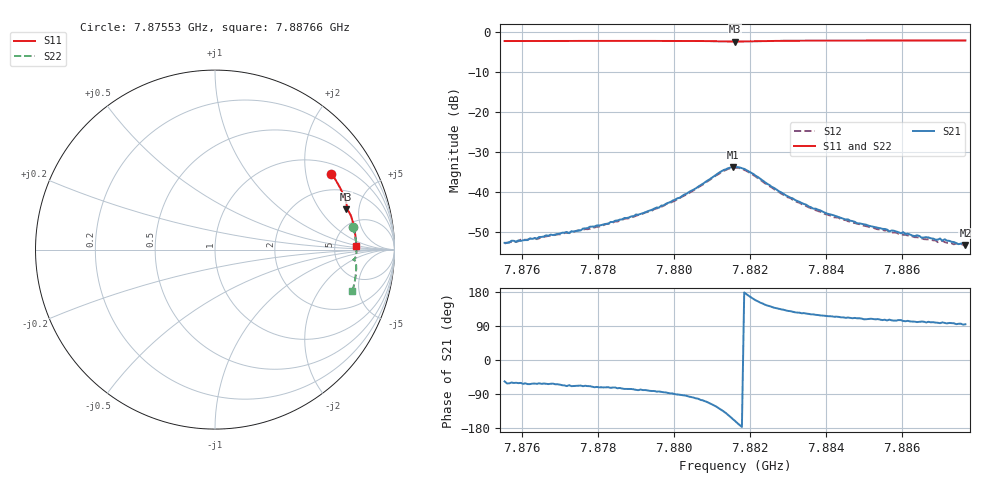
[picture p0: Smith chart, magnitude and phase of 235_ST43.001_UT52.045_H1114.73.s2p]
#  HZ  S  DB  R  50.00
! Rohde & Schwarz Vector Network Analyzer
! Rohde-Schwarz,ZNB20-2Port,1311601062101988,3.16
! Created: UTC 1/12/2023, 6:46:55 PM
! freq[Hz]  db:S11  ang:S11  db:S21  ang:S21  db:S12  ang:S12  db:S22  ang:S22
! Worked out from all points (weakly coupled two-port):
!   201 points, 7.87553 GHz to 7.88766 GHz, reference 50 ohm
!   highest |S21| = -33.76 dB at 7.88154 GHz (marker M1); lowest = -53.3 dB at 7.88766 GHz (marker M2)
!   lowest |S11| = -2.3 dB at 7.8816 GHz (marker M3), VSWR 7.44, Z = 169 + j181 ohm
!   |S11| at or under -10 dB: nowhere
!   |S22| runs from -2.2 to -1.9 dB; largest |S21 - S12| = 0.0014
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7.875533e9  -2.22 33.1  -52.78 -56.5  -52.95 -62.2  -2.15 9.4
7.87717e9  -2.20 28.6  -50.04 -68.9  -50.28 -69.0  -2.11 5.6
7.877231e9  -2.20 28.5  -50.36 -66.3  -50.31 -70.3  -2.11 5.4
7.877595e9  -2.19 27.5  -49.21 -69.1  -49.51 -71.7  -2.09 4.6
7.878262e9  -2.19 25.6  -48.01 -71.8  -47.93 -76.8  -2.08 3.0
7.879597e9  -2.18 21.9  -43.97 -83.1  -43.98 -86.4  -2.07 -0.1
7.880324e9  -2.19 19.9  -40.47 -94.6  -40.67 -98.6  -2.07 -1.9
7.881295e9  -2.32 17.4  -34.55 -135.4  -34.79 -138.8  -2.20 -4.0
7.881537e9  -2.35 17.1  -33.76 -155.6  -33.97 -158.9  -2.24 -4.1
7.881598e9  -2.35 17.1  -33.77 -160.6  -33.96 -164.1  -2.23 -4.1
7.881841e9  -2.32 17.0  -34.25 178.2  -34.51 174.8  -2.21 -4.2
7.882811e9  -2.17 14.6  -40.13 133.8  -40.41 130.3  -2.04 -6.1
7.88366e9  -2.13 12.2  -44.23 120.3  -44.27 116.7  -2.00 -8.1
7.884206e9  -2.12 10.7  -45.92 114.1  -46.38 112.2  -1.98 -9.4
7.885601e9  -2.10 7.0  -49.46 104.3  -49.57 102.5  -1.96 -12.4
7.885662e9  -2.10 6.8  -49.92 106.6  -50.11 103.6  -1.95 -12.7
7.886026e9  -2.09 5.9  -50.11 103.0  -50.78 100.5  -1.95 -13.4
7.886936e9  -2.08 3.5  -51.98 98.3  -52.60 97.6  -1.94 -15.4
7.886996e9  -2.08 3.4  -51.70 97.2  -52.36 97.2  -1.95 -15.5
7.887057e9  -2.08 3.2  -52.27 99.2  -52.27 95.6  -1.94 -15.6
7.887118e9  -2.08 3.0  -51.88 98.0  -52.59 97.6  -1.94 -15.8
7.887663e9  -2.08 1.6  -53.30 94.2  -53.61 91.6  -1.94 -17.0
